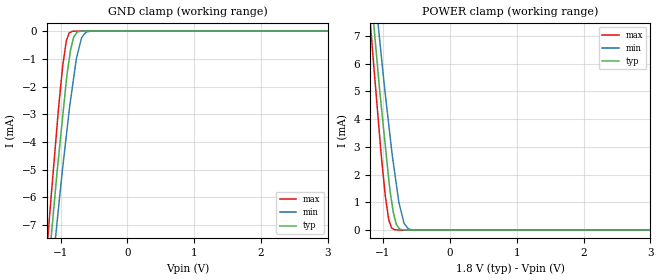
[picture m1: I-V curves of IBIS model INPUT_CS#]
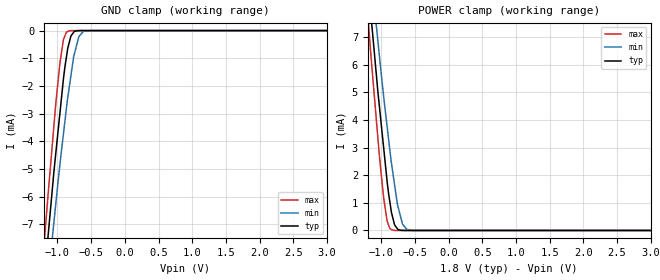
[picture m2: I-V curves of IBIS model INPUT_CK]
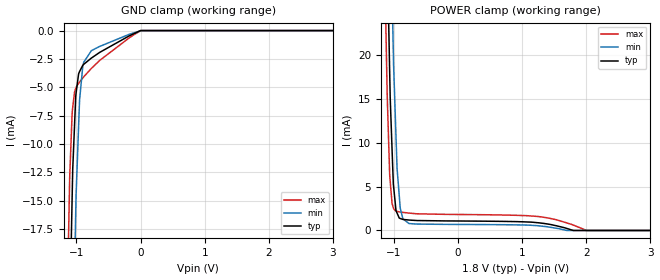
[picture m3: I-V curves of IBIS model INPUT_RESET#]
[IBIS ver] 4.0
[File name] s27ks0642ga-5j_105c.ibs
[File Rev] 1.0
[Date]  March 20, 2018
[Source] Cypress IBIS Team
[Notes]
CONTENTS:
These IBIS models are for the s27ks642 devices.
These models are for 24 ball BGA package
USAGE:
The models are derived for nominal 1.8V I/O voltage supplies.
The temperature range is -40 to 105C.
Package parasitics are included.
Refer to the model selector for the IO drive strength of interest.
Vinl and Vinh levels are VCCQ dependant and should be adjusted per datasheet
VERIFICATION
1. This model was syntax checked with IBISCHK V6.1.4
2. There are 0 parser errors and acceptable warnings.
HELP/QUESTIONS?
If there are any additional questions or concerns about using this
model, please create a technical support case at www.cypress.com/support
or call the technical support line at 408-943-2821 or 1-800-541-4763,
option 8.
[Disclaimer]   This information is for modeling purposes only and is not
   guaranteed.
[Component]   S27KS0642GA-5j_105c
[Manufacturer]  Cypress Semiconductor
[Package]
|   typ   min   max
R_pkg   222m   156m   290m
L_pkg   3.670n   2.140n   4.951n
C_pkg   0.430p   0.191p   0.647p
[Pin]  Signal_name   model_name   R_pin   L_pin   C_pin
D3   DQ0   DQ   190m   3.004n   0.347p
D2   DQ1   DQ   220m   3.818n   0.437p
C4   DQ2   DQ   162m   2.319n   0.369p
D4   DQ3   DQ   188m   2.928n   0.469p
D5   DQ4   DQ   278m   4.726n   0.647p
E3   DQ5   DQ   261m   4.156n   0.565p
E2   DQ6   DQ   249m   4.277n   0.412p
E1   DQ7   DQ   256m   4.599n   0.374p
C3   RWDS   DQ   157m   2.240n   0.439p
A3   CS#   INPUT_CS#   156m   2.683n   0.191p
B1   CK#   INPUT_CK   250m   4.302n   0.358p
B2   CK   INPUT_CK   248m   4.196n   0.354p
C5   PSC#   INPUT_CK   267m   4.719n   0.503p
B5   PSC   INPUT_CK   290m   4.951n   0.575p
A4   RESET#   INPUT_RESET# 157m   2.140n   0.404p
B4   VCC   POWER
D1   VCCQ   POWER
E4   VCCQ   POWER
B3   VSS   GND
C1   VSSQ   GND
E5   VSSQ   GND
|   Model Selector DQ
[Model Selector] DQ
ADQ_ds115   00-115ohm strength
ADQ_ds67   00-67ohm  strength
ADQ_ds46   00-46ohm  strength
ADQ_ds34   00-34ohm  strength (default)
ADQ_ds27   00-27ohm  strength
ADQ_ds22   00-22ohm  strength
ADQ_ds19   00-19ohm  strength
| Models and submodels in the file (10): INPUT_CS# (Input), INPUT_CK (Input), INPUT_RESET# (Input), ADQ_ds115 (I/O), ADQ_ds67 (I/O), ADQ_ds46 (I/O), ADQ_ds34 (I/O), ADQ_ds27 (I/O), ADQ_ds22 (I/O), ADQ_ds19 (I/O)
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[Model]   INPUT_CS#
Model_type   Input
Vinl = 0.54
Vinh = 1.26
|   typ   min   max
C_comp   0.63pF   0.62pF   0.64pF
[Voltage Range]   1.8   1.7   2
[Temperature Range]   25   105   -40
[Power Clamp Reference]   1.8   1.7   2
[GND Clamp Reference]   0   0   0
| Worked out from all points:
|   GND clamp passes 1 mA (typ) near -0.87 V on its own axis
|   POWER clamp passes 1 mA (typ) near -0.87 V on its own axis
[GND Clamp]
|   Voltage   I(typ)   I(min)   I(max)
-1.802V   -26.37mA   -25.64mA   -27.25mA
-1.198V   -8.992mA   -10.4mA    -7.702mA
-1.156V   -7.863mA   -9.39mA    -6.417mA
-1.055V   -5.144mA   -6.958mA   -3.473mA
-966mV    -3.032mA   -4.885mA   -1.221mA
-914mV    -1.796mA   -3.781mA   -355.2uA
-851.4mV  -694.8uA   -2.504mA   -40.92uA
-828mV    -455.2uA   -2.101mA   -9.711uA
-764.7mV  -76.35uA   -1.01mA    -565.9nA
-686.5mV  -4.27uA    -242uA     0A
-604.9mV  -235.2nA   -26.51uA   0A
3.604V    0A         0A         0A
[POWER Clamp]
|   Voltage   I(typ)   I(min)   I(max)
-1.802V   26.37mA    25.64mA    27.25mA
-1.198V   8.992mA    10.4mA     7.702mA
-1.156V   7.863mA    9.39mA     6.417mA
-1.055V   5.144mA    6.958mA    3.473mA
-966mV    3.032mA    4.885mA    1.221mA
-914mV    1.796mA    3.781mA    355.2uA
-851.4mV  694.8uA    2.504mA    40.92uA
-828mV    455.2uA    2.101mA    9.711uA
-764.7mV  76.35uA    1.01mA     565.6nA
-686.5mV  4.27uA     242uA      0A
-604.9mV  235nA      26.51uA    0A
3.604V    0A         0A         0A
[Model]   INPUT_CK
Model_type   Input
Vinl = 0.54
Vinh = 1.26
|   typ   min   max
C_comp   0.63pF   0.62pF   0.64pF
[Voltage Range]   1.8   1.7   2
[Temperature Range]   25   105   -40
[Power Clamp Reference]   1.8   1.7   2
[GND Clamp Reference]   0   0   0
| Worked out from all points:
|   GND clamp passes 1 mA (typ) near -0.87 V on its own axis
|   POWER clamp passes 1 mA (typ) near -0.87 V on its own axis
[GND Clamp]
|   Voltage   I(typ)   I(min)   I(max)
-1.802V   -26.37mA   -25.65mA   -27.26mA
-1.19V    -8.776mA   -10.21mA   -7.456mA
-1.142V   -7.488mA   -9.057mA   -5.996mA
-1.051V   -5.051mA   -6.883mA   -3.381mA
-962mV    -2.938mA   -4.798mA   -1.136mA
-912mV    -1.754mA   -3.738mA   -331.3uA
-868mV    -965.6uA   -2.819mA   -61.02uA
-802.8mV  -210.6uA   -1.668mA   -3.903uA
-759.6mV  -60.26uA   -940.5uA   -445.4nA
-683.1mV  -3.879uA   -222.5uA   0A
-603.2mV  -221.9nA   -25.28uA   0A
3.604V    0A         0A         0A
[POWER Clamp]
|   Voltage   I(typ)   I(min)   I(max)
-1.802V   26.37mA    25.65mA    27.26mA
-1.19V    8.776mA    10.21mA    7.456mA
-1.142V   7.488mA    9.057mA    5.996mA
-1.051V   5.051mA    6.883mA    3.381mA
-962mV    2.938mA    4.798mA    1.136mA
-912mV    1.754mA    3.738mA    331.3uA
-868mV    965.6uA    2.819mA    61.02uA
-802.8mV  210.6uA    1.668mA    3.903uA
-759.6mV  60.26uA    940.5uA    445.1nA
-683.1mV  3.878uA    222.5uA    0A
-603.2mV  221.8nA    25.28uA    0A
3.604V    0A         0A         0A
[Model]   INPUT_RESET#
Model_type   Input
Vinl = 0.54
Vinh = 1.26
|   typ   min   max
C_comp   0.73pF   0.72pF   0.74pF
[Voltage Range]   1.8   1.7   2
[Temperature Range]   25   105   -40
[Power Clamp Reference]   1.8   1.7   2
[GND Clamp Reference]   0   0   0
[GND Clamp]
|   Voltage   I(typ)   I(min)   I(max)
-1.802V   -341.4mA   -356.6mA   -331.7mA
-1.123V   -31.47mA   -52.64mA   -18.57mA
-1.104V   -25.49mA   -45.49mA   -12.96mA
-1.071V   -16.11mA   -33.28mA   -8.015mA
-1.057V   -12.23mA   -29.22mA   -6.769mA
-1.028V   -8.314mA   -21.18mA   -5.415mA
-1.01V    -5.821mA   -16.05mA   -5.106mA
-950mV    -3.613mA   -6.14mA    -4.537mA
-887.1mV  -2.985mA   -2.824mA   -4.091mA
-764.7mV  -2.42mA    -1.768mA   -3.329mA
8mV       0A         -1.076uA   0A
3.604V    0A         0A         0A
[POWER Clamp]
|   Voltage   I(typ)   I(min)   I(max)
-1.802V   387.5mA    404.7mA    376.9mA
-1.123V   39.56mA    65.51mA    22.88mA
-1.104V   32.1mA     57.02mA    15.53mA
-1.071V   20.1mA     42.51mA    7.682mA
-1.057V   15.12mA    37.43mA    5.594mA
-1.028V   9.212mA    27.24mA    3.08mA
-1.008V   5.315mA    20.23mA    2.593mA
-966.6mV  2.269mA    10.71mA    2.225mA
-916mV    1.424mA    3.975mA    2.125mA
-859.9mV  1.267mA    1.336mA    2.068mA
-763mV    1.191mA    792.9uA    1.989mA
3.604V    0A         0A         0A
